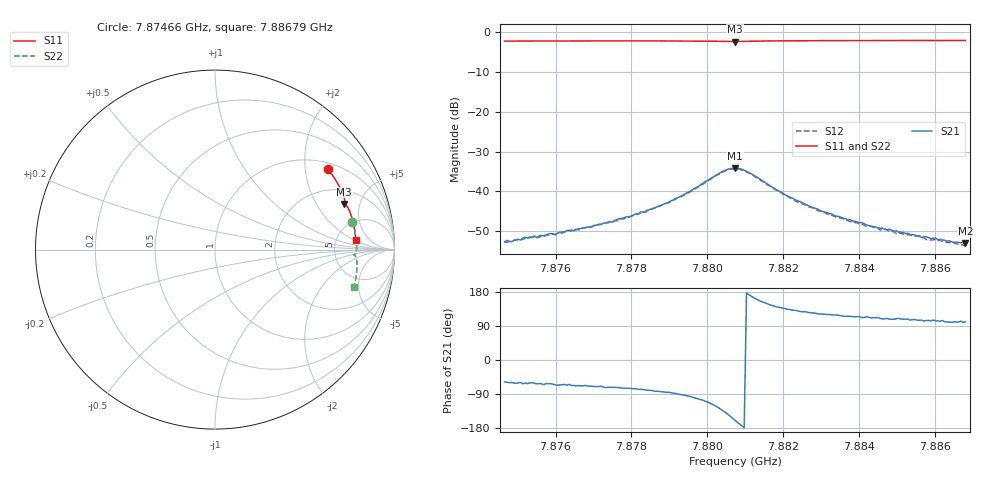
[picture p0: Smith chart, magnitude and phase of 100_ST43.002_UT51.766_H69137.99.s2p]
#  HZ  S  DB  R  50.00
! Rohde & Schwarz Vector Network Analyzer
! Rohde-Schwarz,ZNB20-2Port,1311601062101988,3.16
! Created: UTC 1/12/2023, 6:36:39 PM
! freq[Hz]  db:S11  ang:S11  db:S21  ang:S21  db:S12  ang:S12  db:S22  ang:S22
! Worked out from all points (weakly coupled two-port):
!   201 points, 7.87466 GHz to 7.88679 GHz, reference 50 ohm
!   highest |S21| = -34.17 dB at 7.88072 GHz (marker M1); lowest = -53.0 dB at 7.88679 GHz (marker M2)
!   lowest |S11| = -2.3 dB at 7.88072 GHz (marker M3), VSWR 7.45, Z = 146 + j178 ohm
!   |S11| at or under -10 dB: nowhere
!   |S22| runs from -2.2 to -1.9 dB; largest |S21 - S12| = 0.0013
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7.874659e9  -2.24 35.5  -52.65 -57.6  -52.79 -61.3  -2.15 11.4
7.875448e9  -2.22 33.3  -51.21 -61.5  -51.41 -65.5  -2.12 9.6
7.875509e9  -2.22 33.1  -51.66 -63.1  -51.55 -66.2  -2.11 9.4
7.875872e9  -2.22 32.2  -50.59 -62.5  -50.67 -68.0  -2.11 8.6
7.875994e9  -2.21 31.8  -50.92 -65.1  -50.75 -68.8  -2.10 8.3
7.876297e9  -2.21 31.0  -49.81 -66.7  -49.86 -68.5  -2.10 7.6
7.876661e9  -2.21 30.0  -49.33 -68.4  -49.65 -70.5  -2.09 6.7
7.876722e9  -2.20 29.8  -49.14 -68.2  -49.15 -71.0  -2.09 6.6
7.87751e9  -2.19 27.7  -47.69 -72.3  -47.57 -75.7  -2.07 4.8
7.877631e9  -2.19 27.3  -46.97 -72.7  -47.41 -77.0  -2.07 4.4
7.878177e9  -2.19 25.8  -45.70 -77.6  -45.71 -80.6  -2.06 3.2
7.878723e9  -2.19 24.3  -43.69 -82.7  -43.72 -85.9  -2.06 1.9
7.879572e9  -2.21 21.9  -39.79 -96.9  -40.00 -100.5  -2.06 -0.2
7.880361e9  -2.30 19.8  -35.15 -130.7  -35.32 -134.0  -2.17 -2.0
7.880725e9  -2.35 19.4  -34.17 -158.8  -34.35 -162.3  -2.22 -2.2
7.881028e9  -2.31 19.1  -34.91 176.8  -35.10 173.3  -2.17 -2.3
7.882302e9  -2.16 15.8  -42.07 131.0  -42.36 127.8  -2.01 -5.1
7.882787e9  -2.14 14.5  -44.11 124.3  -44.26 120.1  -1.99 -6.2
7.883697e9  -2.12 12.0  -47.16 115.6  -47.34 113.5  -1.96 -8.3
7.884789e9  -2.10 9.1  -49.49 107.9  -49.99 106.6  -1.94 -10.7
7.885638e9  -2.09 6.9  -51.59 105.2  -51.60 100.9  -1.93 -12.6
7.88679e9  -2.08 3.9  -53.00 100.8  -53.76 97.9  -1.91 -15.1
